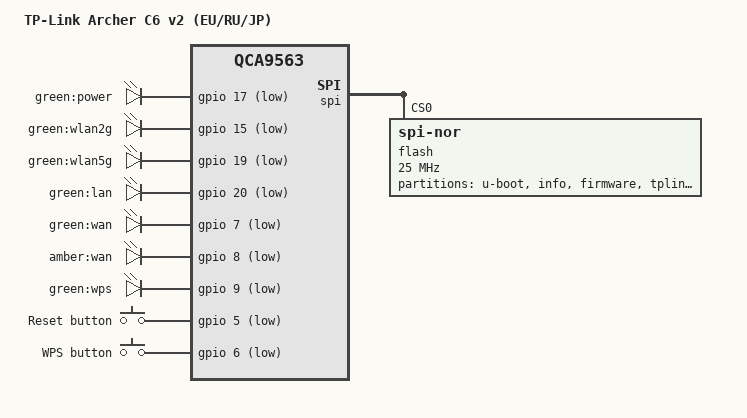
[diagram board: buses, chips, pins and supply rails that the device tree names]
// SPDX-License-Identifier: GPL-2.0-or-later OR MIT

#include "qca9563_tplink_archer-x6-v2.dtsi"

/ {
	compatible = "tplink,archer-c6-v2", "qca,qca9563";
	model = "TP-Link Archer C6 v2 (EU/RU/JP)";

	aliases {
		led-boot = &led_power;
		led-failsafe = &led_power;
		led-running = &led_power;
		led-upgrade = &led_power;
	};

	leds {
		compatible = "gpio-leds";

		led_power: power {
			label = "green:power";
			gpios = <&gpio 17 GPIO_ACTIVE_LOW>;
			default-state = "on";
		};

		wlan2g {
			label = "green:wlan2g";
			gpios = <&gpio 15 GPIO_ACTIVE_LOW>;
			linux,default-trigger = "phy1tpt";
		};

		wlan5g {
			label = "green:wlan5g";
			gpios = <&gpio 19 GPIO_ACTIVE_LOW>;
			linux,default-trigger = "phy0tpt";
		};

		lan {
			label = "green:lan";
			gpios = <&gpio 20 GPIO_ACTIVE_LOW>;
		};

		wan {
			label = "green:wan";
			gpios = <&gpio 7 GPIO_ACTIVE_LOW>;
		};

		wan_fail {
			label = "amber:wan";
			gpios = <&gpio 8 GPIO_ACTIVE_LOW>;
		};

		wps {
			label = "green:wps";
			gpios = <&gpio 9 GPIO_ACTIVE_LOW>;
		};
	};

	keys {
		compatible = "gpio-keys";

		reset {
			label = "Reset button";
			linux,code = <KEY_RESTART>;
			gpios = <&gpio 5 GPIO_ACTIVE_LOW>;
			debounce-interval = <60>;
		};

		wps {
			label = "WPS button";
			linux,code = <KEY_WPS_BUTTON>;
			gpios = <&gpio 6 GPIO_ACTIVE_LOW>;
			debounce-interval = <60>;
		};
	};
};

&spi {
	status = "okay";

	flash@0 {
		compatible = "jedec,spi-nor";
		reg = <0>;
		spi-max-frequency = <25000000>;

		partitions {
			compatible = "fixed-partitions";
			#address-cells = <1>;
			#size-cells = <1>;

			partition@0 {
				label = "u-boot";
				reg = <0x000000 0x020000>;
				read-only;
			};

			info: partition@20000 {
				label = "info";
				reg = <0x020000 0x010000>;
				read-only;
			};

			partition@30000 {
				compatible = "denx,uimage";
				label = "firmware";
				reg = <0x030000 0x7a0000>;
			};

			partition@7d0000 {
				label = "tplink";
				reg = <0x7d0000 0x020000>;
				read-only;
			};

			art: partition@7f0000 {
				label = "art";
				reg = <0x7f0000 0x010000>;
				read-only;
			};
		};
	};
};
